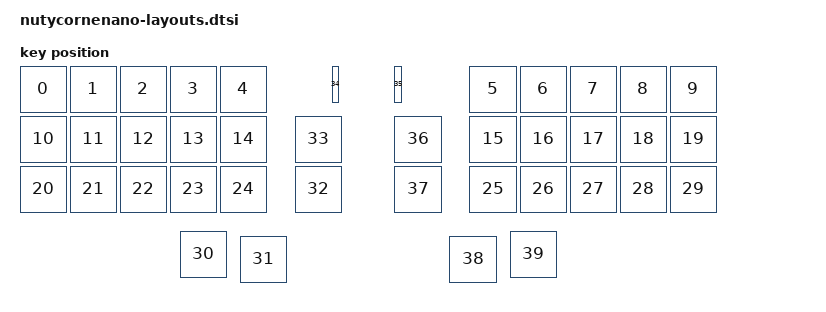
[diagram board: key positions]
#include <physical_layouts.dtsi>

/ {
    physical_layout0: physical_layout_0 {
        compatible = "zmk,physical-layout";
        display-name = "NutyMiniColor46" ;

        keys  //                     w   h    x    y     rot    rx    ry
            = 
              <&key_physical_attrs 100 100  100    0       0     0     0>
            , <&key_physical_attrs 100 100  200    0       0     0     0>
            , <&key_physical_attrs 100 100  300    0       0     0     0>
            , <&key_physical_attrs 100 100  400    0       0     0     0>
            , <&key_physical_attrs 100 100  500    0       0     0     0>
            , <&key_physical_attrs 100 100  1000   0       0     0     0>
            , <&key_physical_attrs 100 100  1100   0       0     0     0>
            , <&key_physical_attrs 100 100  1200   0       0     0     0>
            , <&key_physical_attrs 100 100  1300   0       0     0     0>
            , <&key_physical_attrs 100 100  1400   0       0     0     0>

            , <&key_physical_attrs 100 100  100    100       0     0     0>
            , <&key_physical_attrs 100 100  200    100       0     0     0>
            , <&key_physical_attrs 100 100  300    100       0     0     0>
            , <&key_physical_attrs 100 100  400    100       0     0     0>
            , <&key_physical_attrs 100 100  500    100       0     0     0>
            , <&key_physical_attrs 100 100  1000   100       0     0     0>
            , <&key_physical_attrs 100 100  1100   100       0     0     0>
            , <&key_physical_attrs 100 100  1200   100       0     0     0>
            , <&key_physical_attrs 100 100  1300   100       0     0     0>
            , <&key_physical_attrs 100 100  1400   100       0     0     0>


            , <&key_physical_attrs 100 100  100    200       0     0     0>
            , <&key_physical_attrs 100 100  200    200       0     0     0>
            , <&key_physical_attrs 100 100  300    200       0     0     0>
            , <&key_physical_attrs 100 100  400    200       0     0     0>
            , <&key_physical_attrs 100 100  500    200       0     0     0>
            , <&key_physical_attrs 100 100  1000   200       0     0     0>
            , <&key_physical_attrs 100 100  1100   200       0     0     0>
            , <&key_physical_attrs 100 100  1200   200       0     0     0>
            , <&key_physical_attrs 100 100  1300   200       0     0     0>
            , <&key_physical_attrs 100 100  1400   200       0     0     0>

            , <&key_physical_attrs 100 100  420    330       0         0     0>
            , <&key_physical_attrs 100 100  540    340       0         0     0>
            , <&key_physical_attrs 100 100  650    200       0         0     0>
            , <&key_physical_attrs 100 100  650    100       0         0     0>
            , <&key_physical_attrs 20  80   725      0       0         0     0>

            , <&key_physical_attrs 20  80   850      0       0         0     0>
            , <&key_physical_attrs 100 100  850    100       0         0     0>
            , <&key_physical_attrs 100 100  850    200       0         0     0>
            , <&key_physical_attrs 100 100  960    340       0         0     0>
            , <&key_physical_attrs 100 100  1080   330       0         0     0>

            ;
    };



};
